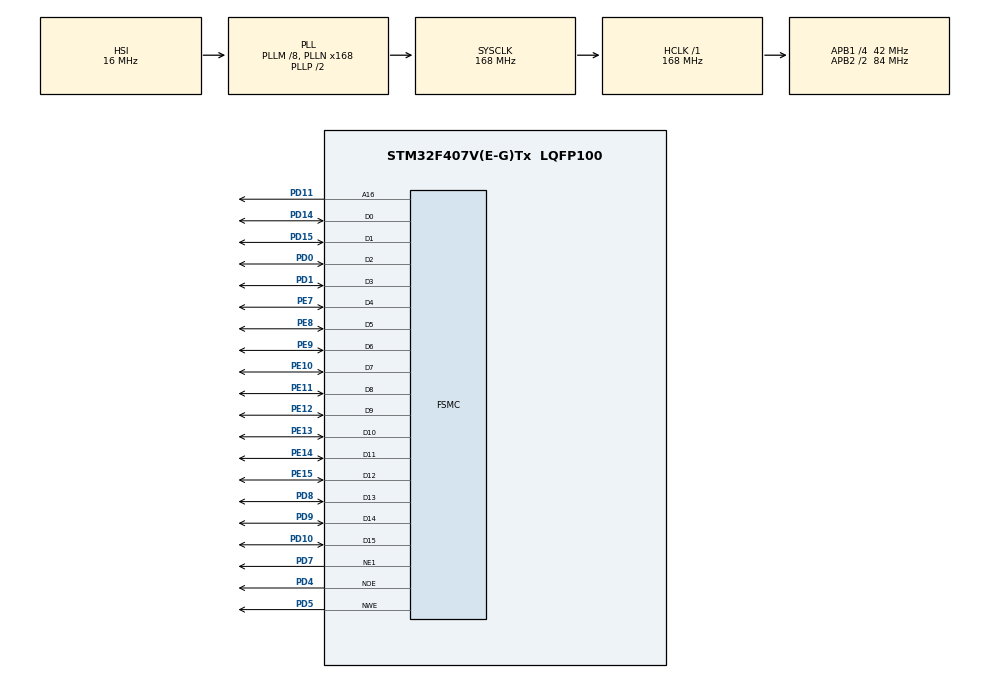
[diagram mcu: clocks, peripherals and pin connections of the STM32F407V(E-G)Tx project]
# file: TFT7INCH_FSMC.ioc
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Mcu.Family=STM32F4
Mcu.Name=STM32F407V(E-G)Tx
Mcu.Package=LQFP100
NVIC.PriorityGroup=NVIC_PRIORITYGROUP_4
PA13.Mode=Serial_Wire
PA13.Signal=SYS_JTMS-SWDIO
PA14.Mode=Serial_Wire
PA14.Signal=SYS_JTCK-SWCLK
PD0.Mode=16b-d1
PD0.Signal=FSMC_D2
PD1.Mode=16b-d1
PD1.Signal=FSMC_D3
PD10.Mode=16b-d1
PD10.Signal=FSMC_D15
PD11.Mode=A16_1
PD11.Signal=FSMC_A16
PD14.Mode=16b-d1
PD14.Signal=FSMC_D0
PD15.Mode=16b-d1
PD15.Signal=FSMC_D1
PD4.Mode=Lcd1
PD4.Signal=FSMC_NOE
PD5.Mode=Lcd1
PD5.Signal=FSMC_NWE
PD7.Mode=NorPsramChipSelect1_1
PD7.Signal=FSMC_NE1
PD8.Mode=16b-d1
PD8.Signal=FSMC_D13
PD9.Mode=16b-d1
PD9.Signal=FSMC_D14
PE10.Mode=16b-d1
PE10.Signal=FSMC_D7
PE11.Mode=16b-d1
PE11.Signal=FSMC_D8
PE12.Mode=16b-d1
PE12.Signal=FSMC_D9
PE13.Mode=16b-d1
PE13.Signal=FSMC_D10
PE14.Mode=16b-d1
PE14.Signal=FSMC_D11
PE15.Mode=16b-d1
PE15.Signal=FSMC_D12
PE7.Mode=16b-d1
PE7.Signal=FSMC_D4
PE8.Mode=16b-d1
PE8.Signal=FSMC_D5
PE9.Mode=16b-d1
PE9.Signal=FSMC_D6
PH0-OSC_IN.Mode=HSE-External-Oscillator
PH0-OSC_IN.Signal=RCC_OSC_IN
PH1-OSC_OUT.Mode=HSE-External-Oscillator
PH1-OSC_OUT.Signal=RCC_OSC_OUT
ProjectManager.HeapSize=0x200
ProjectManager.StackSize=0x400
ProjectManager.TargetToolchain=MDK-ARM V5
RCC.48MHZClocksFreq_Value=84000000
RCC.AHBFreq_Value=168000000
RCC.APB1CLKDivider=RCC_HCLK_DIV4
RCC.APB1Freq_Value=42000000
RCC.APB1TimFreq_Value=84000000
RCC.APB2CLKDivider=RCC_HCLK_DIV2
RCC.APB2Freq_Value=84000000
RCC.APB2TimFreq_Value=168000000
RCC.CortexFreq_Value=168000000
RCC.HCLKFreq_Value=168000000
RCC.HSE_VALUE=8000000
RCC.HSI_VALUE=16000000
RCC.LSE_VALUE=32768
RCC.PLLM=8
RCC.PLLN=168
RCC.SYSCLKFreq_VALUE=168000000
RCC.SYSCLKSource=RCC_SYSCLKSOURCE_PLLCLK
RCC.VCOOutputFreq_Value=336000000
board=custom

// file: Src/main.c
/**
  ******************************************************************************
  * @file           : main.c
  * @brief          : Main program body
  ******************************************************************************
  ** This notice applies to any and all portions of this file
  * that are not between comment pairs USER CODE BEGIN and
  * USER CODE END. Other portions of this file, whether
  * inserted by the user or by software development tools
  * are owned by their respective copyright owners.
  *
  * COPYRIGHT(c) 2018 STMicroelectronics
  *
  * Redistribution and use in source and binary forms, with or without modification,
  * are permitted provided that the following conditions are met:
  *   1. Redistributions of source code must retain the above copyright notice,
  *      this list of conditions and the following disclaimer.
  *   2. Redistributions in binary form must reproduce the above copyright notice,
  *      this list of conditions and the following disclaimer in the documentation
  *      and/or other materials provided with the distribution.
  *   3. Neither the name of STMicroelectronics nor the names of its contributors
  *      may be used to endorse or promote products derived from this software
  *      without specific prior written permission.
  *
  * THIS SOFTWARE IS PROVIDED BY THE COPYRIGHT HOLDERS AND CONTRIBUTORS "AS IS"
  * AND ANY EXPRESS OR IMPLIED WARRANTIES, INCLUDING, BUT NOT LIMITED TO, THE
  * IMPLIED WARRANTIES OF MERCHANTABILITY AND FITNESS FOR A PARTICULAR PURPOSE ARE
  * DISCLAIMED. IN NO EVENT SHALL THE COPYRIGHT HOLDER OR CONTRIBUTORS BE LIABLE
  * FOR ANY DIRECT, INDIRECT, INCIDENTAL, SPECIAL, EXEMPLARY, OR CONSEQUENTIAL
  * DAMAGES (INCLUDING, BUT NOT LIMITED TO, PROCUREMENT OF SUBSTITUTE GOODS OR
  * SERVICES; LOSS OF USE, DATA, OR PROFITS; OR BUSINESS INTERRUPTION) HOWEVER
  * CAUSED AND ON ANY THEORY OF LIABILITY, WHETHER IN CONTRACT, STRICT LIABILITY,
  * OR TORT (INCLUDING NEGLIGENCE OR OTHERWISE) ARISING IN ANY WAY OUT OF THE USE
  * OF THIS SOFTWARE, EVEN IF ADVISED OF THE POSSIBILITY OF SUCH DAMAGE.
  *
  ******************************************************************************
  */
#include "main.h"
#include "stm32f4xx_hal.h"

/* USER CODE BEGIN Includes */
#include "SSD1963.h"
/* USER CODE END Includes */

SRAM_HandleTypeDef hsram1;

/* USER CODE BEGIN PV */
/* Private variables ---------------------------------------------------------*/

/* USER CODE END PV */

void SystemClock_Config(void);
static void MX_GPIO_Init(void);
static void MX_FSMC_Init(void);

/* USER CODE BEGIN PFP */
/* Private function prototypes -----------------------------------------------*/

/* USER CODE END PFP */

int main(void)
{

  /* MCU Configuration----------------------------------------------------------*/

  /* Reset of all peripherals, Initializes the Flash interface and the Systick. */
  HAL_Init();

  /* Configure the system clock */
  SystemClock_Config();

  /* Initialize all configured peripherals */
  MX_GPIO_Init();
  MX_FSMC_Init();
  /* USER CODE BEGIN 2 */
SSD1963_Initial();
  /* USER CODE END 2 */

  /* Infinite loop */
  /* USER CODE BEGIN WHILE */
  while (1)
  {
		show_pic(PIC);
		HAL_Delay(1000);
		LCD_FULL(0xf800);
		HAL_Delay(1000);
		LCD_FULL(0x07e0);
		 HAL_Delay(1000);
		LCD_FULL(0x001f);
		 HAL_Delay(1000);
		LCD_FULL(0x07ff);
		 HAL_Delay(1000);
		LCD_FULL(0xffe0);
		 HAL_Delay(1000);
		LCD_FULL(0xf81f);
		HAL_Delay(1000);
  /* USER CODE END WHILE */

  }

}

void SystemClock_Config(void)
{

  RCC_OscInitTypeDef RCC_OscInitStruct;
  RCC_ClkInitTypeDef RCC_ClkInitStruct;

    /**Configure the main internal regulator output voltage
    */
  __HAL_RCC_PWR_CLK_ENABLE();

  __HAL_PWR_VOLTAGESCALING_CONFIG(PWR_REGULATOR_VOLTAGE_SCALE1);

    /**Initializes the CPU, AHB and APB busses clocks
    */
  RCC_OscInitStruct.OscillatorType = RCC_OSCILLATORTYPE_HSI;
  RCC_OscInitStruct.HSIState = RCC_HSI_ON;
  RCC_OscInitStruct.HSICalibrationValue = 16;
  RCC_OscInitStruct.PLL.PLLState = RCC_PLL_ON;
  RCC_OscInitStruct.PLL.PLLSource = RCC_PLLSOURCE_HSI;
  RCC_OscInitStruct.PLL.PLLM = 8;
  RCC_OscInitStruct.PLL.PLLN = 168;
  RCC_OscInitStruct.PLL.PLLP = RCC_PLLP_DIV2;
  RCC_OscInitStruct.PLL.PLLQ = 4;
  if (HAL_RCC_OscConfig(&RCC_OscInitStruct) != HAL_OK)
  {
    _Error_Handler(__FILE__, __LINE__);
  }

    /**Initializes the CPU, AHB and APB busses clocks
    */
  RCC_ClkInitStruct.ClockType = RCC_CLOCKTYPE_HCLK|RCC_CLOCKTYPE_SYSCLK
                              |RCC_CLOCKTYPE_PCLK1|RCC_CLOCKTYPE_PCLK2;
  RCC_ClkInitStruct.SYSCLKSource = RCC_SYSCLKSOURCE_PLLCLK;
  RCC_ClkInitStruct.AHBCLKDivider = RCC_SYSCLK_DIV1;
  RCC_ClkInitStruct.APB1CLKDivider = RCC_HCLK_DIV4;
  RCC_ClkInitStruct.APB2CLKDivider = RCC_HCLK_DIV2;

  if (HAL_RCC_ClockConfig(&RCC_ClkInitStruct, FLASH_LATENCY_5) != HAL_OK)
  {
    _Error_Handler(__FILE__, __LINE__);
  }

    /**Configure the Systick interrupt time
    */
  HAL_SYSTICK_Config(HAL_RCC_GetHCLKFreq()/1000);

    /**Configure the Systick
    */
  HAL_SYSTICK_CLKSourceConfig(SYSTICK_CLKSOURCE_HCLK);

  /* SysTick_IRQn interrupt configuration */
  HAL_NVIC_SetPriority(SysTick_IRQn, 0, 0);
}

/** Configure pins as
        * Analog
        * Input
        * Output
        * EVENT_OUT
        * EXTI
        * Free pins are configured automatically as Analog (this feature is enabled through
        * the Code Generation settings)
*/
static void MX_GPIO_Init(void)
{

  GPIO_InitTypeDef GPIO_InitStruct;

  /* GPIO Ports Clock Enable */
  __HAL_RCC_GPIOE_CLK_ENABLE();
  __HAL_RCC_GPIOC_CLK_ENABLE();
  __HAL_RCC_GPIOH_CLK_ENABLE();
  __HAL_RCC_GPIOA_CLK_ENABLE();
  __HAL_RCC_GPIOB_CLK_ENABLE();
  __HAL_RCC_GPIOD_CLK_ENABLE();

  /*Configure GPIO pins : PE2 PE3 PE4 PE5
                           PE6 PE0 PE1 */
  GPIO_InitStruct.Pin = GPIO_PIN_2|GPIO_PIN_3|GPIO_PIN_4|GPIO_PIN_5
                          |GPIO_PIN_6|GPIO_PIN_0|GPIO_PIN_1;
  GPIO_InitStruct.Mode = GPIO_MODE_ANALOG;
  GPIO_InitStruct.Pull = GPIO_NOPULL;
  HAL_GPIO_Init(GPIOE, &GPIO_InitStruct);

  /*Configure GPIO pins : PC13 PC14 PC15 PC0
                           PC1 PC2 PC3 PC4
                           PC5 PC6 PC7 PC8
                           PC9 PC10 PC11 PC12 */
  GPIO_InitStruct.Pin = GPIO_PIN_13|GPIO_PIN_14|GPIO_PIN_15|GPIO_PIN_0
                          |GPIO_PIN_1|GPIO_PIN_2|GPIO_PIN_3|GPIO_PIN_4
                          |GPIO_PIN_5|GPIO_PIN_6|GPIO_PIN_7|GPIO_PIN_8
                          |GPIO_PIN_9|GPIO_PIN_10|GPIO_PIN_11|GPIO_PIN_12;
  GPIO_InitStruct.Mode = GPIO_MODE_ANALOG;
  GPIO_InitStruct.Pull = GPIO_NOPULL;
  HAL_GPIO_Init(GPIOC, &GPIO_InitStruct);

  /*Configure GPIO pins : PA0 PA1 PA2 PA3
                           PA4 PA5 PA6 PA7
                           PA8 PA9 PA10 PA11
                           PA12 PA15 */
  GPIO_InitStruct.Pin = GPIO_PIN_0|GPIO_PIN_1|GPIO_PIN_2|GPIO_PIN_3
                          |GPIO_PIN_4|GPIO_PIN_5|GPIO_PIN_6|GPIO_PIN_7
                          |GPIO_PIN_8|GPIO_PIN_9|GPIO_PIN_10|GPIO_PIN_11
                          |GPIO_PIN_12|GPIO_PIN_15;
  GPIO_InitStruct.Mode = GPIO_MODE_ANALOG;
  GPIO_InitStruct.Pull = GPIO_NOPULL;
  HAL_GPIO_Init(GPIOA, &GPIO_InitStruct);

  /*Configure GPIO pins : PB0 PB1 PB2 PB10
                           PB11 PB12 PB13 PB14
                           PB15 PB3 PB4 PB5
                           PB6 PB7 PB8 PB9 */
  GPIO_InitStruct.Pin = GPIO_PIN_0|GPIO_PIN_1|GPIO_PIN_2|GPIO_PIN_10
                          |GPIO_PIN_11|GPIO_PIN_12|GPIO_PIN_13|GPIO_PIN_14
                          |GPIO_PIN_15|GPIO_PIN_3|GPIO_PIN_4|GPIO_PIN_5
                          |GPIO_PIN_6|GPIO_PIN_7|GPIO_PIN_8|GPIO_PIN_9;
  GPIO_InitStruct.Mode = GPIO_MODE_ANALOG;
  GPIO_InitStruct.Pull = GPIO_NOPULL;
  HAL_GPIO_Init(GPIOB, &GPIO_InitStruct);

  /*Configure GPIO pins : PD12 PD13 PD2 PD3
                           PD6 */
  GPIO_InitStruct.Pin = GPIO_PIN_12|GPIO_PIN_13|GPIO_PIN_2|GPIO_PIN_3
                          |GPIO_PIN_6;
  GPIO_InitStruct.Mode = GPIO_MODE_ANALOG;
  GPIO_InitStruct.Pull = GPIO_NOPULL;
  HAL_GPIO_Init(GPIOD, &GPIO_InitStruct);

}

/* FSMC initialization function */
static void MX_FSMC_Init(void)
{
  FSMC_NORSRAM_TimingTypeDef Timing;

  /** Perform the SRAM1 memory initialization sequence
  */
  hsram1.Instance = FSMC_NORSRAM_DEVICE;
  hsram1.Extended = FSMC_NORSRAM_EXTENDED_DEVICE;
  /* hsram1.Init */
  hsram1.Init.NSBank = FSMC_NORSRAM_BANK1;
  hsram1.Init.DataAddressMux = FSMC_DATA_ADDRESS_MUX_DISABLE;
  hsram1.Init.MemoryType = FSMC_MEMORY_TYPE_SRAM;
  hsram1.Init.MemoryDataWidth = FSMC_NORSRAM_MEM_BUS_WIDTH_16;
  hsram1.Init.BurstAccessMode = FSMC_BURST_ACCESS_MODE_DISABLE;
  hsram1.Init.WaitSignalPolarity = FSMC_WAIT_SIGNAL_POLARITY_LOW;
  hsram1.Init.WrapMode = FSMC_WRAP_MODE_DISABLE;
  hsram1.Init.WaitSignalActive = FSMC_WAIT_TIMING_BEFORE_WS;
  hsram1.Init.WriteOperation = FSMC_WRITE_OPERATION_ENABLE;
  hsram1.Init.WaitSignal = FSMC_WAIT_SIGNAL_DISABLE;
  hsram1.Init.ExtendedMode = FSMC_EXTENDED_MODE_DISABLE;
  hsram1.Init.AsynchronousWait = FSMC_ASYNCHRONOUS_WAIT_DISABLE;
  hsram1.Init.WriteBurst = FSMC_WRITE_BURST_DISABLE;
  hsram1.Init.PageSize = FSMC_PAGE_SIZE_NONE;
  /* Timing */
  Timing.AddressSetupTime = 15;
  Timing.AddressHoldTime = 15;
  Timing.DataSetupTime = 255;
  Timing.BusTurnAroundDuration = 15;
  Timing.CLKDivision = 16;
  Timing.DataLatency = 17;
  Timing.AccessMode = FSMC_ACCESS_MODE_A;
  /* ExtTiming */

  if (HAL_SRAM_Init(&hsram1, &Timing, NULL) != HAL_OK)
  {
    _Error_Handler(__FILE__, __LINE__);
  }

}

void _Error_Handler(char *file, int line)
{
  while(1)
  {
  }
}

/************************ (C) COPYRIGHT STMicroelectronics *****END OF FILE****/
